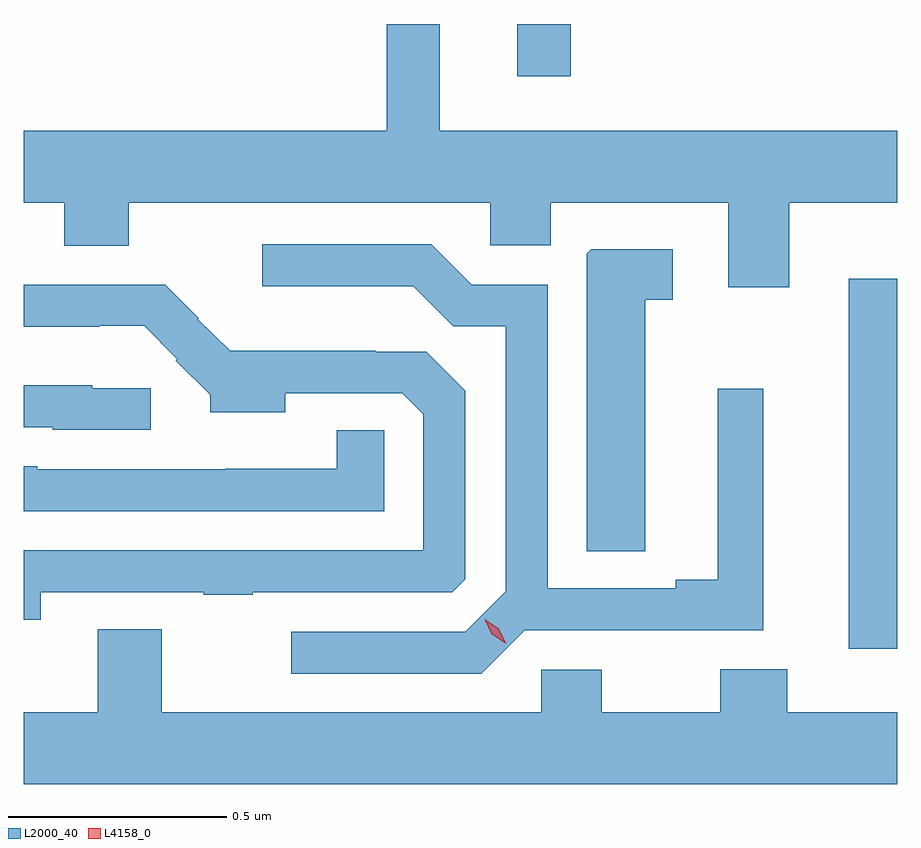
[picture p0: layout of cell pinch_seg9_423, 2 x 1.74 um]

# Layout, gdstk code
import gdstk
lib = gdstk.Library(unit=1e-6, precision=1e-09)
def R(c, l, rs):  # rectangles x0, y0, x1, y1
    for r in rs: c.add(gdstk.rectangle(r[:2], r[2:], *l))
def P(c, l, *ps):  # polygons
    for p in ps: c.add(gdstk.Polygon(p, *l))
L2000_40 = (2000, 40)
L4158_0 = (4158, 0)

pinch_seg9_423 = lib.new_cell('pinch_seg9_423')
R(pinch_seg9_423, L2000_40, [(330.05,1210.05,330.161,1210.897), (329.291,1211.361,329.413,1211.481)])
P(pinch_seg9_423, L2000_40, [(329.914,1211.072),(330.161,1211.072),(330.161,1211.236),(329.113,1211.236),(329.113,1211.481),(328.992,1211.481),(328.992,1211.236),(328.161,1211.236),(328.161,1211.072),(328.253,1211.072),(328.253,1210.973),(328.401,1210.973),(328.401,1211.072),(329.229,1211.072),(329.229,1210.974),(329.368,1210.974),(329.368,1211.072),(329.774,1211.072),(329.774,1210.878),(329.914,1210.878)],
  [(329.308,1210.092),(329.854,1210.092),(329.854,1210.645),(329.75,1210.645),(329.75,1210.208),(329.654,1210.208),(329.654,1210.188),(329.361,1210.188),(329.361,1210.884),(329.187,1210.884),(329.094,1210.977),(328.707,1210.977),(328.707,1210.88),(329.053,1210.88),(329.144,1210.789),(329.265,1210.789),(329.265,1210.182),(329.172,1210.089),(328.773,1210.089),(328.773,1209.993),(329.209,1209.993)],
  [(329.584,1210.849),(329.647,1210.849),(329.647,1210.965),(329.46,1210.965),(329.45,1210.955),(329.45,1210.273),(329.584,1210.273)],
  [(328.2,1210.179),(328.573,1210.179),(328.573,1210.174),(328.685,1210.174),(328.685,1210.179),(329.142,1210.179),(329.172,1210.209),(329.172,1210.641),(329.083,1210.73),(328.967,1210.73),(328.967,1210.732),(328.633,1210.732),(328.559,1210.805),(328.561,1210.807),(328.485,1210.884),(328.161,1210.884),(328.161,1210.787),(328.334,1210.787),(328.334,1210.79),(328.436,1210.79),(328.512,1210.713),(328.509,1210.71),(328.588,1210.632),(328.588,1210.592),(328.759,1210.592),(328.759,1210.635),(329.028,1210.635),(329.076,1210.587),(329.076,1210.275),(328.161,1210.275),(328.161,1210.116),(328.2,1210.116)],
  [(328.452,1210.647),(328.317,1210.647),(328.317,1210.654),(328.161,1210.654),(328.161,1210.557),(328.227,1210.557),(328.227,1210.551),(328.452,1210.551)],
  [(328.986,1210.55),(328.878,1210.55),(328.878,1210.462),(328.623,1210.462),(328.623,1210.461),(328.191,1210.461),(328.191,1210.468),(328.161,1210.468),(328.161,1210.365),(328.986,1210.365)],
  [(330.161,1209.904),(329.909,1209.904),(329.909,1210.003),(329.756,1210.003),(329.756,1209.904),(329.485,1209.904),(329.485,1210.002),(329.346,1210.002),(329.346,1209.904),(328.477,1209.904),(328.477,1210.094),(328.33,1210.094),(328.33,1209.904),(328.161,1209.904),(328.161,1209.74),(330.161,1209.74)])
P(pinch_seg9_423, L4158_0, [(329.264,1210.063),(329.233,1210.083),(329.216,1210.117),(329.216,1210.117),(329.216,1210.117),(329.247,1210.097),(329.265,1210.064),(329.265,1210.063)])

lib.write_gds('pinch_seg9_423.gds')
